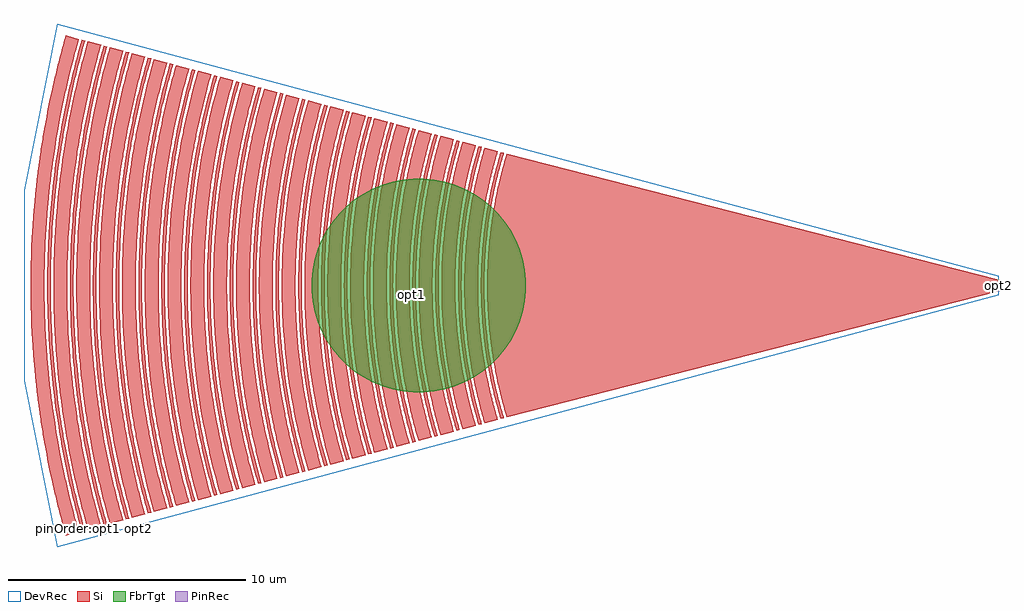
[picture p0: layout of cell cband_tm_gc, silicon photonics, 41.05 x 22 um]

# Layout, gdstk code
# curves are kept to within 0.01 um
import gdstk
lib = gdstk.Library(unit=1e-6, precision=1e-09)
def R(c, l, rs):  # rectangles x0, y0, x1, y1
    for r in rs: c.add(gdstk.rectangle(r[:2], r[2:], *l))
def P(c, l, *ps):  # polygons
    for p in ps: c.add(gdstk.Polygon(p, *l))
Si = (1, 0)
PinRec = (1, 10)
DevRec = (68, 0)
FbrTgt = (81, 0)

tm1550_subgc_10degree_ox = lib.new_cell('TM1550_SubGC_10degree_oxide')
P(tm1550_subgc_10degree_ox, Si, [(-20.951,-5.614),(-21.151,-4.903),(-21.312,-4.239),(-21.46,-3.514),(-21.572,-2.84),(-21.66,-2.162),(-21.733,-1.367),(-21.767,-0.741),(-21.781,-0.057),(-21.771,0.627),(-21.733,1.367),(-21.66,2.162),(-21.572,2.84),(-21.46,3.514),(-21.312,4.239),(-21.151,4.903),(-20.951,5.614),(-20.815,5.577),(-21.015,4.871),(-21.223,3.991),(-21.371,3.213),(-21.508,2.261),(-21.611,1.076),(-21.641,0.057),(-21.611,-1.076),(-21.508,-2.261),(-21.371,-3.213),(-21.223,-3.991),(-21.015,-4.871),(-20.815,-5.577)],
  [(-21.624,-5.794),(-21.816,-5.117),(-22.009,-4.318),(-22.159,-3.569),(-22.255,-2.989),(-22.341,-2.348),(-22.416,-1.587),(-22.459,-0.882),(-22.478,-0.177),(-22.47,0.588),(-22.437,1.294),(-22.367,2.114),(-22.272,2.873),(-22.159,3.569),(-22.009,4.318),(-21.816,5.117),(-21.624,5.794),(-21.069,5.645),(-21.381,4.486),(-21.621,3.308),(-21.782,2.174),(-21.833,1.661),(-21.882,0.917),(-21.903,0.172),(-21.887,-0.803),(-21.833,-1.661),(-21.748,-2.459),(-21.621,-3.308),(-21.481,-4.039),(-21.285,-4.875),(-21.069,-5.645)],
  [(-21.878,-5.862),(-22.116,-5.004),(-22.279,-4.31),(-22.418,-3.611),(-22.524,-2.965),(-22.622,-2.198),(-22.691,-1.428),(-22.724,-0.833),(-22.741,-0.06),(-22.734,0.536),(-22.691,1.428),(-22.622,2.198),(-22.524,2.965),(-22.418,3.611),(-22.279,4.31),(-22.116,5.004),(-21.878,5.862),(-21.743,5.826),(-21.95,5.088),(-22.154,4.226),(-22.32,3.356),(-22.441,2.537),(-22.507,1.949),(-22.563,1.242),(-22.601,0.059),(-22.594,-0.532),(-22.563,-1.242),(-22.507,-1.949),(-22.441,-2.537),(-22.32,-3.356),(-22.154,-4.226),(-21.95,-5.088),(-21.743,-5.826)],
  [(-22.552,-6.043),(-22.735,-5.395),(-22.911,-4.682),(-23.062,-3.963),(-23.188,-3.238),(-23.281,-2.57),(-23.378,-1.594),(-23.421,-0.859),(-23.438,-0.184),(-23.433,0.491),(-23.387,1.471),(-23.329,2.144),(-23.233,2.935),(-23.128,3.601),(-22.951,4.503),(-22.766,5.277),(-22.552,6.043),(-21.996,5.894),(-22.16,5.32),(-22.334,4.625),(-22.56,3.513),(-22.654,2.922),(-22.744,2.21),(-22.8,1.614),(-22.844,0.898),(-22.863,0.18),(-22.849,-0.778),(-22.8,-1.614),(-22.702,-2.566),(-22.56,-3.513),(-22.412,-4.275),(-22.25,-4.973),(-21.996,-5.894)],
  [(-22.805,-6.111),(-23.006,-5.396),(-23.168,-4.735),(-23.309,-4.068),(-23.457,-3.213),(-23.542,-2.599),(-23.64,-1.612),(-23.686,-0.806),(-23.701,-0.062),(-23.686,0.806),(-23.649,1.488),(-23.584,2.229),(-23.493,2.968),(-23.366,3.763),(-23.195,4.614),(-23.006,5.396),(-22.805,6.111),(-22.67,6.074),(-22.885,5.304),(-23.11,4.346),(-23.28,3.438),(-23.395,2.645),(-23.469,1.971),(-23.525,1.233),(-23.561,0.062),(-23.554,-0.555),(-23.525,-1.233),(-23.469,-1.971),(-23.395,-2.645),(-23.28,-3.438),(-23.11,-4.346),(-22.885,-5.304),(-22.67,-6.074)],
  [(-23.479,-6.291),(-23.701,-5.494),(-23.893,-4.688),(-24.043,-3.937),(-24.167,-3.182),(-24.243,-2.612),(-24.336,-1.659),(-24.383,-0.83),(-24.398,-0.128),(-24.383,0.83),(-24.345,1.532),(-24.285,2.231),(-24.167,3.182),(-24.043,3.937),(-23.893,4.688),(-23.701,5.494),(-23.479,6.291),(-22.923,6.142),(-23.061,5.664),(-23.26,4.88),(-23.519,3.599),(-23.606,3.045),(-23.706,2.241),(-23.767,1.558),(-23.806,0.873),(-23.823,0.187),(-23.806,-0.873),(-23.742,-1.869),(-23.656,-2.674),(-23.519,-3.599),(-23.368,-4.394),(-23.141,-5.364),(-22.923,-6.142)],
  [(-23.732,-6.359),(-23.957,-5.553),(-24.094,-4.99),(-24.266,-4.17),(-24.418,-3.28),(-24.526,-2.448),(-24.598,-1.677),(-24.64,-0.968),(-24.661,-0.065),(-24.645,0.839),(-24.598,1.677),(-24.526,2.448),(-24.418,3.28),(-24.302,3.98),(-24.094,4.99),(-23.957,5.553),(-23.732,6.359),(-23.597,6.323),(-23.852,5.397),(-24.04,4.586),(-24.219,3.641),(-24.357,2.689),(-24.437,1.923),(-24.484,1.283),(-24.521,0.064),(-24.512,-0.642),(-24.484,-1.283),(-24.437,-1.923),(-24.357,-2.689),(-24.219,-3.641),(-24.04,-4.586),(-23.852,-5.397),(-23.597,-6.323)],
  [(-24.406,-6.54),(-24.603,-5.838),(-24.821,-4.937),(-25.002,-4.027),(-25.119,-3.307),(-25.22,-2.517),(-25.308,-1.526),(-25.347,-0.73),(-25.358,-0.133),(-25.347,0.73),(-25.308,1.526),(-25.22,2.517),(-25.119,3.307),(-25.002,4.027),(-24.821,4.937),(-24.603,5.838),(-24.406,6.54),(-23.851,6.391),(-24.06,5.643),(-24.214,5.014),(-24.468,3.744),(-24.585,2.975),(-24.655,2.396),(-24.725,1.621),(-24.765,0.908),(-24.783,0.13),(-24.765,-0.908),(-24.71,-1.815),(-24.61,-2.782),(-24.468,-3.744),(-24.298,-4.635),(-24.092,-5.518),(-23.851,-6.391)],
  [(-24.66,-6.608),(-24.892,-5.77),(-25.064,-5.054),(-25.213,-4.332),(-25.379,-3.341),(-25.481,-2.543),(-25.57,-1.542),(-25.607,-0.805),(-25.621,-0.067),(-25.607,0.805),(-25.57,1.542),(-25.481,2.543),(-25.379,3.341),(-25.213,4.332),(-25.064,5.054),(-24.892,5.77),(-24.66,6.608),(-24.525,6.571),(-24.772,5.674),(-24.997,4.701),(-25.19,3.652),(-25.303,2.861),(-25.43,1.533),(-25.465,0.867),(-25.481,0.067),(-25.465,-0.867),(-25.43,-1.533),(-25.303,-2.861),(-25.19,-3.652),(-24.997,-4.701),(-24.772,-5.674),(-24.525,-6.571)],
  [(-25.333,-6.788),(-25.537,-6.06),(-25.702,-5.393),(-25.874,-4.586),(-26.04,-3.636),(-26.16,-2.749),(-26.246,-1.858),(-26.302,-0.895),(-26.318,-0.138),(-26.302,0.895),(-26.266,1.583),(-26.19,2.476),(-26.09,3.296),(-25.962,4.112),(-25.777,5.057),(-25.554,5.994),(-25.333,6.788),(-24.778,6.639),(-24.943,6.057),(-25.139,5.275),(-25.282,4.617),(-25.439,3.756),(-25.538,3.09),(-25.631,2.287),(-25.692,1.549),(-25.727,0.876),(-25.743,0.135),(-25.727,-0.876),(-25.678,-1.751),(-25.572,-2.823),(-25.417,-3.889),(-25.241,-4.815),(-25.028,-5.732),(-24.778,-6.639)],
  [(-25.587,-6.856),(-25.81,-6.054),(-26.02,-5.176),(-26.172,-4.427),(-26.321,-3.535),(-26.421,-2.777),(-26.508,-1.877),(-26.564,-0.904),(-26.581,-0.07),(-26.569,0.765),(-26.528,1.599),(-26.444,2.57),(-26.341,3.398),(-26.197,4.29),(-26.02,5.176),(-25.81,6.054),(-25.587,6.856),(-25.452,6.82),(-25.708,5.888),(-25.926,4.946),(-26.129,3.858),(-26.257,2.968),(-26.339,2.212),(-26.393,1.522),(-26.429,0.761),(-26.441,0.069),(-26.429,-0.761),(-26.393,-1.522),(-26.339,-2.212),(-26.257,-2.968),(-26.129,-3.858),(-25.926,-4.946),(-25.708,-5.888),(-25.452,-6.82)],
  [(-26.261,-7.037),(-26.489,-6.213),(-26.704,-5.312),(-26.898,-4.332),(-27.012,-3.628),(-27.106,-2.921),(-27.204,-1.926),(-27.264,-0.857),(-27.278,-0.143),(-27.264,0.857),(-27.229,1.57),(-27.153,2.495),(-27.052,3.346),(-26.898,4.332),(-26.704,5.312),(-26.489,6.213),(-26.261,7.037),(-25.705,6.888),(-25.876,6.284),(-26.063,5.54),(-26.24,4.721),(-26.366,4.034),(-26.491,3.206),(-26.566,2.581),(-26.63,1.886),(-26.684,0.978),(-26.703,-0.14),(-26.678,-1.118),(-26.607,-2.164),(-26.509,-3.067),(-26.366,-4.034),(-26.184,-4.995),(-25.929,-6.082),(-25.705,-6.888)],
  [(-26.514,-7.104),(-26.744,-6.273),(-26.946,-5.433),(-27.157,-4.374),(-27.293,-3.52),(-27.407,-2.591),(-27.471,-1.873),(-27.521,-1.009),(-27.541,-0.072),(-27.526,0.865),(-27.491,1.585),(-27.407,2.591),(-27.293,3.52),(-27.157,4.374),(-26.946,5.433),(-26.744,6.273),(-26.514,7.104),(-26.379,7.068),(-26.626,6.172),(-26.869,5.126),(-27.067,4.069),(-27.202,3.147),(-27.289,2.363),(-27.351,1.577),(-27.391,0.717),(-27.401,0.072),(-27.391,-0.717),(-27.36,-1.434),(-27.289,-2.363),(-27.202,-3.147),(-27.067,-4.069),(-26.869,-5.126),(-26.626,-6.172),(-26.379,-7.068)],
  [(-27.188,-7.285),(-27.442,-6.361),(-27.661,-5.427),(-27.806,-4.703),(-27.974,-3.683),(-28.069,-2.95),(-28.167,-1.92),(-28.218,-1.035),(-28.238,-0.148),(-28.226,0.813),(-28.192,1.551),(-28.109,2.583),(-27.995,3.537),(-27.871,4.339),(-27.661,5.427),(-27.442,6.361),(-27.188,7.285),(-26.633,7.136),(-26.864,6.301),(-27.002,5.739),(-27.156,5.033),(-27.315,4.18),(-27.444,3.321),(-27.529,2.602),(-27.588,1.953),(-27.646,0.941),(-27.663,-0.145),(-27.637,-1.158),(-27.57,-2.17),(-27.444,-3.321),(-27.315,-4.18),(-27.127,-5.175),(-26.917,-6.091),(-26.633,-7.136)],
  [(-27.442,-7.353),(-27.679,-6.492),(-27.871,-5.696),(-28.065,-4.747),(-28.213,-3.865),(-28.347,-2.829),(-28.429,-1.938),(-28.483,-0.97),(-28.501,-0.075),(-28.483,0.97),(-28.429,1.938),(-28.355,2.755),(-28.245,3.643),(-28.065,4.747),(-27.903,5.55),(-27.716,6.348),(-27.442,7.353),(-27.306,7.317),(-27.543,6.46),(-27.797,5.378),(-27.992,4.358),(-28.146,3.331),(-28.231,2.594),(-28.305,1.706),(-28.346,0.891),(-28.361,0.074),(-28.346,-0.891),(-28.305,-1.706),(-28.231,-2.594),(-28.146,-3.331),(-27.992,-4.358),(-27.797,-5.378),(-27.543,-6.46),(-27.306,-7.317)],
  [(-28.115,-7.533),(-28.377,-6.577),(-28.587,-5.686),(-28.78,-4.713),(-28.904,-3.959),(-29.024,-3.051),(-29.125,-1.986),(-29.174,-1.146),(-29.198,-0.153),(-29.183,0.917),(-29.141,1.757),(-29.065,2.671),(-28.937,3.733),(-28.78,4.713),(-28.587,5.686),(-28.377,6.577),(-28.115,7.533),(-27.56,7.385),(-27.761,6.665),(-27.991,5.72),(-28.144,4.988),(-28.3,4.103),(-28.416,3.288),(-28.507,2.469),(-28.567,1.722),(-28.608,0.899),(-28.623,-0.15),(-28.596,-1.199),(-28.527,-2.245),(-28.416,-3.288),(-28.276,-4.251),(-28.07,-5.355),(-27.817,-6.448),(-27.56,-7.385)],
  [(-28.369,-7.601),(-28.633,-6.637),(-28.828,-5.813),(-28.997,-4.983),(-29.164,-3.995),(-29.285,-3.078),(-29.381,-2.08),(-29.433,-1.234),(-29.461,-0.077),(-29.45,0.771),(-29.403,1.773),(-29.334,2.618),(-29.208,3.69),(-29.079,4.528),(-28.877,5.587),(-28.633,6.637),(-28.369,7.601),(-28.234,7.565),(-28.515,6.531),(-28.755,5.485),(-28.953,4.43),(-29.109,3.368),(-29.209,2.453),(-29.268,1.688),(-29.308,0.844),(-29.321,0.077),(-29.308,-0.844),(-29.268,-1.688),(-29.209,-2.453),(-29.128,-3.216),(-28.978,-4.279),(-28.786,-5.335),(-28.552,-6.382),(-28.234,-7.565)],
  [(-29.043,-7.782),(-29.293,-6.871),(-29.545,-5.796),(-29.741,-4.79),(-29.878,-3.933),(-30.013,-2.837),(-30.094,-1.893),(-30.145,-0.868),(-30.158,-0.158),(-30.145,0.868),(-30.094,1.893),(-30.013,2.837),(-29.9,3.777),(-29.741,4.79),(-29.545,5.796),(-29.293,6.871),(-29.043,7.782),(-28.487,7.633),(-28.733,6.739),(-28.948,5.837),(-29.118,5.003),(-29.25,4.241),(-29.37,3.398),(-29.456,2.629),(-29.52,1.857),(-29.565,1.007),(-29.583,-0.155),(-29.562,-1.084),(-29.497,-2.166),(-29.37,-3.398),(-29.2,-4.546),(-29.013,-5.534),(-28.771,-6.589),(-28.487,-7.633)],
  [(-29.296,-7.85),(-29.568,-6.853),(-29.803,-5.847),(-30.014,-4.754),(-30.138,-3.968),(-30.266,-2.941),(-30.356,-1.91),(-30.402,-1.035),(-30.421,-0.08),(-30.402,1.035),(-30.356,1.91),(-30.266,2.941),(-30.138,3.968),(-30.014,4.754),(-29.803,5.847),(-29.568,6.853),(-29.296,7.85),(-29.161,7.814),(-29.451,6.745),(-29.73,5.51),(-29.928,4.419),(-30.082,3.321),(-30.158,2.612),(-30.236,1.585),(-30.27,0.793),(-30.281,0.079),(-30.27,-0.793),(-30.236,-1.585),(-30.158,-2.612),(-30.082,-3.321),(-29.928,-4.419),(-29.73,-5.51),(-29.451,-6.745),(-29.161,-7.814)],
  [(-29.97,-8.03),(-30.187,-7.247),(-30.453,-6.14),(-30.646,-5.183),(-30.818,-4.139),(-30.924,-3.332),(-31.028,-2.279),(-31.096,-1.14),(-31.118,-0.163),(-31.102,0.977),(-31.052,1.954),(-30.977,2.846),(-30.841,3.978),(-30.689,4.943),(-30.47,6.061),(-30.227,7.09),(-29.97,8.03),(-29.415,7.882),(-29.648,7.036),(-29.872,6.105),(-30.079,5.087),(-30.248,4.063),(-30.343,3.35),(-30.448,2.316),(-30.518,1.199),(-30.543,0.16),(-30.53,-0.879),(-30.478,-1.917),(-30.388,-2.953),(-30.248,-4.063),(-30.079,-5.087),(-29.872,-6.105),(-29.648,-7.036),(-29.415,-7.882)],
  [(-30.223,-8.098),(-30.483,-7.15),(-30.745,-6.032),(-30.934,-5.066),(-31.09,-4.093),(-31.23,-2.952),(-31.314,-1.97),(-31.367,-0.904),(-31.381,-0.082),(-31.367,0.904),(-31.314,1.97),(-31.23,2.952),(-31.09,4.093),(-30.934,5.066),(-30.745,6.032),(-30.483,7.15),(-30.223,8.098),(-30.088,8.062),(-30.367,7.039),(-30.641,5.845),(-30.824,4.882),(-31.006,3.67),(-31.107,2.776),(-31.185,1.798),(-31.227,0.9),(-31.241,0.082),(-31.227,-0.9),(-31.185,-1.798),(-31.107,-2.776),(-31.006,-3.67),(-30.824,-4.882),(-30.641,-5.845),(-30.367,-7.039),(-30.088,-8.062)],
  [(-30.897,-8.279),(-31.162,-7.309),(-31.394,-6.33),(-31.577,-5.426),(-31.757,-4.35),(-31.907,-3.185),(-31.992,-2.265),(-32.052,-1.259),(-32.078,-0.168),(-32.064,0.924),(-32.01,2.014),(-31.907,3.185),(-31.793,4.101),(-31.622,5.178),(-31.394,6.33),(-31.162,7.309),(-30.897,8.279),(-30.342,8.13),(-30.602,7.178),(-30.865,6.055),(-31.069,5.004),(-31.223,4.027),(-31.352,2.964),(-31.436,1.978),(-31.484,1.072),(-31.503,0.165),(-31.492,-0.825),(-31.436,-1.978),(-31.352,-2.964),(-31.223,-4.027),(-31.069,-5.004),(-30.865,-6.055),(-30.602,-7.178),(-30.342,-8.13)],
  [(-31.151,-8.347),(-31.375,-7.533),(-31.633,-6.465),(-31.836,-5.47),(-32.017,-4.386),(-32.168,-3.211),(-32.26,-2.199),(-32.321,-1.1),(-32.341,-0.085),(-32.324,1.016),(-32.272,2.03),(-32.177,3.127),(-32.065,4.051),(-31.896,5.137),(-31.687,6.217),(-31.459,7.205),(-31.151,8.347),(-31.016,8.311),(-31.302,7.255),(-31.584,6.025),(-31.8,4.866),(-31.97,3.699),(-32.079,2.694),(-32.138,1.937),(-32.184,1.011),(-32.201,0.084),(-32.184,-1.011),(-32.138,-1.937),(-32.079,-2.694),(-31.97,-3.699),(-31.8,-4.866),(-31.584,-6.025),(-31.302,-7.255),(-31.016,-8.311)],
  [(-31.824,-8.527),(-32.097,-7.528),(-32.335,-6.52),(-32.539,-5.503),(-32.721,-4.395),(-32.862,-3.28),(-32.956,-2.247),(-33.018,-1.124),(-33.038,-0.173),(-33.024,0.951),(-32.974,1.988),(-32.889,3.022),(-32.757,4.138),(-32.599,5.163),(-32.371,6.351),(-32.139,7.361),(-31.824,8.527),(-31.269,8.379),(-31.558,7.315),(-31.753,6.489),(-31.972,5.408),(-32.151,4.318),(-32.29,3.223),(-32.376,2.292),(-32.44,1.19),(-32.463,0.17),(-32.449,-0.935),(-32.4,-1.953),(-32.299,-3.138),(-32.175,-4.15),(-32.017,-5.157),(-31.807,-6.24),(-31.558,-7.315),(-31.269,-8.379)],
  [(-32.078,-8.595),(-32.331,-7.672),(-32.592,-6.572),(-32.782,-5.633),(-32.981,-4.43),(-33.123,-3.306),(-33.218,-2.265),(-33.277,-1.22),(-33.301,-0.087),(-33.277,1.22),(-33.218,2.265),(-33.123,3.306),(-32.981,4.43),(-32.782,5.633),(-32.592,6.572),(-32.331,7.672),(-32.078,8.595),(-31.943,8.559),(-32.279,7.304),(-32.527,6.205),(-32.749,5.011),(-32.934,3.723),(-33.043,2.688),(-33.107,1.822),(-33.149,0.868),(-33.161,0.087),(-33.149,-0.868),(-33.107,-1.822),(-33.043,-2.688),(-32.934,-3.723),(-32.749,-5.011),(-32.527,-6.205),(-32.279,-7.304),(-31.943,-8.559)],
  [(-32.752,-8.776),(-33.053,-7.661),(-33.295,-6.623),(-33.517,-5.489),(-33.685,-4.435),(-33.817,-3.375),(-33.907,-2.401),(-33.974,-1.246),(-33.998,-0.178),(-33.986,0.89),(-33.92,2.223),(-33.836,3.198),(-33.685,4.435),(-33.517,5.489),(-33.295,6.623),(-33.053,7.661),(-32.752,8.776),(-32.196,8.627),(-32.493,7.531),(-32.731,6.511),(-32.934,5.482),(-33.115,4.36),(-33.245,3.318),(-33.34,2.273),(-33.406,1.05),(-33.423,0.175),(-33.406,-1.05),(-33.358,-2.011),(-33.272,-3.057),(-33.115,-4.36),(-32.934,-5.482),(-32.731,-6.511),(-32.493,-7.531),(-32.196,-8.627)],
  [(-33.005,-8.844),(-33.309,-7.721),(-33.571,-6.586),(-33.776,-5.531),(-33.945,-4.469),(-34.088,-3.312),(-34.182,-2.24),(-34.243,-1.076),(-34.261,-0.09),(-34.243,1.076),(-34.182,2.24),(-34.088,3.312),(-33.945,4.469),(-33.776,5.531),(-33.571,6.586),(-33.309,7.721),(-33.005,8.844),(-32.87,8.808),(-33.194,7.602),(-33.452,6.472),(-33.698,5.156),(-33.866,4.008),(-33.984,2.943),(-34.06,1.964),(-34.106,0.982),(-34.121,0.089),(-34.106,-0.982),(-34.06,-1.964),(-33.984,-2.943),(-33.866,-4.008),(-33.698,-5.156),(-33.452,-6.472),(-33.194,-7.602),(-32.87,-8.808)],
  [(-33.679,-9.024),(-33.966,-7.967),(-34.217,-6.899),(-34.432,-5.824),(-34.624,-4.651),(-34.782,-3.38),(-34.878,-2.286),(-34.937,-1.189),(-34.958,-0.183),(-34.943,1.007),(-34.896,2.012),(-34.818,3.016),(-34.662,4.379),(-34.48,5.554),(-34.255,6.721),(-33.966,7.967),(-33.679,9.024),(-33.124,8.875),(-33.384,7.922),(-33.653,6.786),(-33.849,5.816),(-34.054,4.574),(-34.21,3.324),(-34.291,2.428),(-34.355,1.35),(-34.383,0.18),(-34.371,-0.9),(-34.322,-1.979),(-34.237,-3.056),(-34.079,-4.396),(-33.897,-5.551),(-33.691,-6.61),(-33.45,-7.661),(-33.124,-8.875)],
  [(-33.933,-9.092),(-34.199,-8.116),(-34.494,-6.861),(-34.691,-5.867),(-34.884,-4.685),(-35.053,-3.313),(-35.14,-2.303),(-35.199,-1.198),(-35.221,-0.092),(-35.199,1.198),(-35.14,2.303),(-35.053,3.313),(-34.91,4.503),(-34.755,5.505),(-34.494,6.861),(-34.199,8.116),(-33.933,9.092),(-33.797,9.056),(-34.13,7.817),(-34.413,6.565),(-34.647,5.302),(-34.831,4.03),(-34.957,2.843),(-35.024,1.927),(-35.068,0.918),(-35.081,0.092),(-35.068,-0.918),(-35.024,-1.927),(-34.957,-2.843),(-34.831,-4.03),(-34.647,-5.302),(-34.413,-6.565),(-34.13,-7.817),(-33.797,-9.056)],
  [(-34.606,-9.273),(-34.946,-8.004),(-35.178,-6.997),(-35.395,-5.891),(-35.575,-4.778),(-35.728,-3.566),(-35.836,-2.349),(-35.889,-1.41),(-35.918,-0.188),(-35.908,0.846),(-35.86,1.973),(-35.766,3.192),(-35.627,4.406),(-35.428,5.706),(-35.178,6.997),(-34.946,8.004),(-34.606,9.273),(-34.051,9.124),(-34.341,8.055),(-34.614,6.885),(-34.828,5.797),(-34.992,4.793),(-35.125,3.785),(-35.234,2.68),(-35.306,1.572),(-35.343,0.185),(-35.333,-0.833),(-35.286,-1.942),(-35.202,-3.049),(-35.044,-4.427),(-34.876,-5.524),(-34.614,-6.885),(-34.341,-8.055),(-34.051,-9.124)],
  [(-34.86,-9.341),(-35.202,-8.062),(-35.455,-6.956),(-35.687,-5.748),(-35.849,-4.72),(-35.999,-3.498),(-36.098,-2.366),(-36.162,-1.136),(-36.181,-0.095),(-36.162,1.136),(-36.098,2.366),(-35.999,3.498),(-35.849,4.72),(-35.687,5.748),(-35.455,6.956),(-35.202,8.062),(-34.86,9.341),(-34.725,9.304),(-35.043,8.122),(-35.337,6.837),(-35.596,5.447),(-35.773,4.234),(-35.888,3.203),(-35.971,2.169),(-36.022,1.132),(-36.041,0.094),(-36.028,-0.943),(-35.977,-2.074),(-35.888,-3.203),(-35.773,-4.234),(-35.596,-5.447),(-35.337,-6.837),(-35.043,-8.122),(-34.725,-9.304)],
  [(-35.534,-9.521),(-35.835,-8.405),(-36.099,-7.279),(-36.325,-6.144),(-36.513,-5.002),(-36.662,-3.853),(-36.78,-2.604),(-36.852,-1.351),(-36.878,-0.193),(-36.865,0.965),(-36.807,2.219),(-36.703,3.469),(-36.567,4.619),(-36.392,5.764),(-36.159,6.996),(-35.882,8.218),(-35.534,9.521),(-34.978,9.372),(-35.321,8.09),(-35.575,6.98),(-35.775,5.955),(-35.957,4.83),(-36.09,3.793),(-36.199,2.658),(-36.265,1.615),(-36.303,0.19),(-36.281,-1.235),(-36.22,-2.374),(-36.111,-3.604),(-35.957,-4.83),(-35.775,-5.955),(-35.575,-6.98),(-35.321,-8.09),(-34.978,-9.372)],
  [(-35.787,-9.589),(-36.091,-8.465),(-36.377,-7.236),(-36.584,-6.188),(-36.787,-4.941),(-36.923,-3.881),(-37.049,-2.526),(-37.118,-1.264),(-37.141,-0.097),(-37.118,1.264),(-37.056,2.429),(-36.944,3.687),(-36.814,4.749),(-36.635,5.901),(-36.377,7.236),(-36.091,8.465),(-35.787,9.589),(-35.652,9.553),(-35.978,8.339),(-36.299,6.924),(-36.545,5.592),(-36.714,4.443),(-36.825,3.481),(-36.923,2.323),(-36.978,1.259),(-37.001,0.097),(-36.978,-1.259),(-36.923,-2.323),(-36.825,-3.481),(-36.714,-4.443),(-36.545,-5.592),(-36.299,-6.924),(-35.978,-8.339),(-35.652,-9.553)],
  [(-36.461,-9.77),(-36.77,-8.624),(-37.061,-7.372),(-37.289,-6.207),(-37.464,-5.132),(-37.594,-4.15),(-37.73,-2.771),(-37.803,-1.584),(-37.838,-0.198),(-37.822,1.089),(-37.765,2.277),(-37.659,3.56),(-37.506,4.838),(-37.289,6.207),(-37.061,7.372),(-36.77,8.624),(-36.461,9.77),(-35.906,9.621),(-36.234,8.398),(-36.497,7.26),(-36.722,6.112),(-36.922,4.861),(-37.045,3.894),(-37.164,2.631),(-37.233,1.463),(-37.263,0.195),(-37.244,-1.17),(-37.185,-2.339),(-37.066,-3.7),(-36.922,-4.861),(-36.722,-6.112),(-36.497,-7.26),(-36.234,-8.398),(-35.906,-9.621)],
  [(-36.714,-9.838),(-37.001,-8.781),(-37.276,-7.618),(-37.548,-6.25),(-37.724,-5.168),(-37.91,-3.684),(-38.014,-2.492),(-38.081,-1.197),(-38.101,-0.1),(-38.081,1.197),(-38.014,2.492),(-37.91,3.684),(-37.766,4.871),(-37.548,6.25),(-37.339,7.326),(-37.001,8.781),(-36.714,9.838),(-36.579,9.801),(-36.937,8.46),(-37.222,7.201),(-37.461,5.933),(-37.667,4.558),(-37.8,3.374),(-37.881,2.383),(-37.941,1.192),(-37.961,0.099),(-37.95,-0.894),(-37.911,-1.887),(-37.836,-2.978),(-37.692,-4.361),(-37.494,-5.737),(-37.262,-7.007),(-36.937,-8.46),(-36.579,-9.801)],
  [(-37.388,-10.018),(-37.729,-8.745),(-37.981,-7.658),(-38.254,-6.264),(-38.444,-5.061),(-38.604,-3.751),(-38.71,-2.537),(-38.778,-1.219),(-38.798,-0.203),(-38.778,1.219),(-38.71,2.537),(-38.604,3.751),(-38.458,4.961),(-38.254,6.264),(-38.044,7.361),(-37.729,8.745),(-37.388,10.018),(-36.833,9.869),(-37.145,8.712),(-37.459,7.349),(-37.669,6.27),(-37.874,4.986),(-38.032,3.696),(-38.129,2.599),(-38.2,1.301),(-38.223,0.2),(-38.2,-1.301),(-38.143,-2.4),(-38.032,-3.696),(-37.874,-4.986),(-37.669,-6.27),(-37.459,-7.349),(-37.145,-8.712),(-36.833,-9.869)],
  [(-37.642,-10.086),(-37.985,-8.804),(-38.26,-7.61),(-38.513,-6.307),(-38.704,-5.095),(-38.876,-3.675),(-38.957,-2.758),(-39.037,-1.329),(-39.061,-0.102),(-39.037,1.329),(-38.957,2.758),(-38.876,3.675),(-38.704,5.095),(-38.513,6.307),(-38.26,7.61),(-37.985,8.804),(-37.642,10.086),(-37.507,10.05),(-37.873,8.674),(-38.185,7.284),(-38.426,5.983),(-38.633,4.572),(-38.766,3.357),(-38.839,2.444),(-38.897,1.324),(-38.921,0.102),(-38.904,-1.121),(-38.852,-2.24),(-38.766,-3.357),(-38.633,-4.572),(-38.426,-5.983),(-38.185,-7.284),(-37.873,-8.674),(-37.507,-10.05)],
  [(-38.316,-10.267),(-38.639,-9.063),(-38.944,-7.746),(-39.165,-6.624),(-39.381,-5.29),(-39.549,-3.947),(-39.66,-2.704),(-39.726,-1.561),(-39.758,-0.208),(-39.741,1.145),(-39.675,2.496),(-39.549,3.947),(-39.41,5.083),(-39.219,6.317),(-38.987,7.543),(-38.714,8.76),(-38.316,10.267),(-37.76,10.118),(-38.029,9.13),(-38.337,7.835),(-38.598,6.528),(-38.811,5.213),(-38.954,4.094),(-39.079,2.767),(-39.147,1.641),(-39.183,0.205),(-39.172,-0.923),(-39.114,-2.255),(-39.018,-3.482),(-38.867,-4.807),(-38.651,-6.225),(-38.422,-7.434),(-38.104,-8.832),(-37.76,-10.118)],
  [(-38.569,-10.335),(-38.895,-9.123),(-39.223,-7.695),(-39.442,-6.565),(-39.656,-5.221),(-39.821,-3.869),(-39.937,-2.513),(-40,-1.257),(-40.021,-0.105),(-40,1.257),(-39.937,2.513),(-39.821,3.869),(-39.656,5.221),(-39.442,6.565),(-39.223,7.695),(-38.895,9.123),(-38.569,10.335),(-38.434,10.298),(-38.733,9.192),(-39.086,7.668),(-39.34,6.336),(-39.573,4.789),(-39.692,3.752),(-39.804,2.4),(-39.86,1.253),(-39.881,0.104),(-39.86,-1.253),(-39.804,-2.4),(-39.692,-3.752),(-39.573,-4.789),(-39.34,-6.336),(-39.086,-7.668),(-38.733,-9.192),(-38.434,-10.298)],
  [(-39.243,-10.515),(-39.574,-9.282),(-39.841,-8.142),(-40.073,-6.994),(-40.317,-5.523),(-40.481,-4.255),(-40.602,-2.982),(-40.685,-1.599),(-40.718,-0.213),(-40.697,1.279),(-40.64,2.45),(-40.526,3.831),(-40.362,5.206),(-40.13,6.679),(-39.907,7.83),(-39.574,9.282),(-39.243,10.515),(-38.687,10.366),(-39.014,9.151),(-39.365,7.616),(-39.599,6.378),(-39.792,5.133),(-39.943,3.881),(-40.052,2.625),(-40.119,1.366),(-40.143,0.21),(-40.126,-1.156),(-40.066,-2.415),(-39.943,-3.881),(-39.792,-5.133),(-39.599,-6.378),(-39.365,-7.616),(-39.014,-9.151),(-38.687,-10.366)],
  [(-20.697,-5.546),(-20.881,-4.898),(-21.042,-4.243),(-21.159,-3.693),(-21.295,-2.917),(-21.386,-2.248),(-21.449,-1.632),(-21.5,-0.845),(-21.518,-0.169),(-21.512,0.507),(-21.471,1.351),(-21.399,2.136),(-21.32,2.75),(-21.201,3.472),(-21.067,4.133),(-20.881,4.898),(-20.697,5.546),(0,0.25),(0,-0.25)])
tm1550_subgc_10degree_ox.add(gdstk.Label('Ref: Yun Wang, Optics Express, 08/2014', (-39,0), layer=10, texttype=0))
tm1550_subgc_10degree_ox.add(gdstk.Label('http://dx.doi.org/10.1364/OE.22.020652', (-39,-2), layer=10, texttype=0))
tm1550_subgc_10degree_ox.add(gdstk.Label('TM 1550 +10 deg', (-39,2), layer=10, texttype=0))

cband_tm_gc = lib.new_cell('cband_tm_gc')
R(cband_tm_gc, Si, [(-0.001,-0.001,0.001,0.001)])
P(cband_tm_gc, DevRec, [(-39.6,-11),(-41,-4),(-41,4),(-39.6,11),(0,0.4),(0,-0.4)])
P(cband_tm_gc, FbrTgt, [(-24.621,-4.5),(-25.061,-4.457),(-25.495,-4.37),(-25.918,-4.242),(-26.326,-4.073),(-26.716,-3.864),(-27.084,-3.619),(-27.426,-3.338),(-27.738,-3.026),(-28.019,-2.684),(-28.264,-2.316),(-28.473,-1.926),(-28.642,-1.518),(-28.77,-1.095),(-28.857,-0.661),(-28.9,-0.221),(-28.9,0.221),(-28.857,0.661),(-28.77,1.095),(-28.642,1.518),(-28.473,1.926),(-28.264,2.316),(-28.019,2.684),(-27.738,3.026),(-27.426,3.338),(-27.084,3.619),(-26.716,3.864),(-26.326,4.073),(-25.918,4.242),(-25.495,4.37),(-25.061,4.457),(-24.621,4.5),(-24.179,4.5),(-23.739,4.457),(-23.305,4.37),(-22.882,4.242),(-22.474,4.073),(-22.084,3.864),(-21.716,3.619),(-21.374,3.338),(-21.062,3.026),(-20.781,2.684),(-20.536,2.316),(-20.327,1.926),(-20.158,1.518),(-20.03,1.095),(-19.943,0.661),(-19.9,0.221),(-19.9,-0.221),(-19.943,-0.661),(-20.03,-1.095),(-20.158,-1.518),(-20.327,-1.926),(-20.536,-2.316),(-20.781,-2.684),(-21.062,-3.026),(-21.374,-3.338),(-21.716,-3.619),(-22.084,-3.864),(-22.474,-4.073),(-22.882,-4.242),(-23.305,-4.37),(-23.739,-4.457),(-24.179,-4.5)])
cband_tm_gc.add(gdstk.FlexPath([(-0.05,0),(0.05,0)], 0.5, ends="flush", simple_path=True, layer=1, datatype=10))  # PinRec
cband_tm_gc.add(gdstk.Reference(tm1550_subgc_10degree_ox, (0,0)))
cband_tm_gc.add(gdstk.Label('opt1', (-24.7,-0.38), layer=81, texttype=0))
cband_tm_gc.add(gdstk.Label('opt2', (0,0), layer=1, texttype=10))
cband_tm_gc.add(gdstk.Label('pinOrder:opt1 opt2', (-38.03,-10.235), layer=68, texttype=0))
cband_tm_gc.add(gdstk.Label('cellName=cband_tm_gc', (-38.03,-9.735), layer=68, texttype=0))
cband_tm_gc.add(gdstk.Label('Component=cband_tm_gc', (-38.03,-9.86), layer=68, texttype=0))
cband_tm_gc.add(gdstk.Label('Lumerical_INTERCONNECT_library=Design kits/EBeam_CMLC', (-38.03,-9.985), layer=68, texttype=0))
cband_tm_gc.add(gdstk.Label('Spice_param:', (-38.03,-10.11), layer=68, texttype=0))

lib.write_gds('cband_tm_gc.gds')
